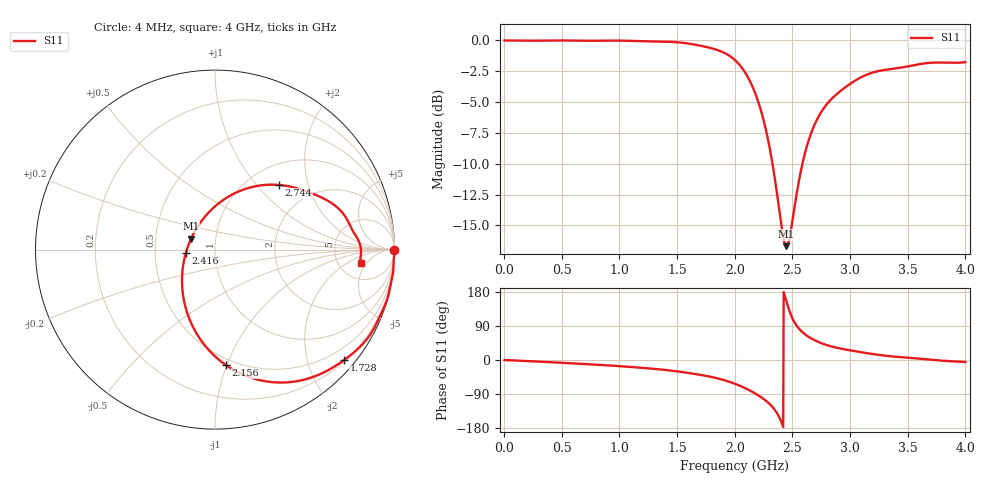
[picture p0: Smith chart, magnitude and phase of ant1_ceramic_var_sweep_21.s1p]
! TOUCHSTONE file generated by CST MICROWAVE STUDIO
! Date and time: Fri May  6 09:22:55 2022
! Project name: ant1_ceramic_sweep_10porcent.cst
! Parameters = {e=0.035; h=1.6; i=0.8; l1=0.5; l2=17; ls=80; wl=1.7; ws=33}
! Header version: 2018
! Port assignment regex: !\s*Touchstone port\s*([0-9]+)\s*=\s*(CST MWS port|CST DS port)\s*([0-9]+|Zmin|Zmax)\s*\(\"(.*)\"\)(\s*mode\s*([0-9]+))?.*
! Touchstone port assignment:
! Touchstone port 1 = CST MWS port 1 ("")
# GHz S DB R 50
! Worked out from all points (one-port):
!   1000 points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, 4 MHz to 4 GHz, reference 50 ohm
!   lowest |S11| = -16.7 dB at 2.448 GHz (marker M1), VSWR 1.34, Z = 38 + j4.79 ohm
!   |S11| at or under -10 dB: 2.327 GHz to 2.587 GHz (259.5 MHz wide, 10.6 % of centre)
!   S11 on the Smith chart (normalised r, x): 4 MHz: open; 1.728 GHz: 0.23, -2.69; 2.156 GHz: 0.45, -0.99; 2.416 GHz: 0.72, -0.03; 2.744 GHz: 1.37, +1.33; 4 GHz: 8.22, -3.67
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0.004  -0.00 -0.1
0.504  -0.00 -7.4
1.004  -0.01 -16.3
1.332  -0.09 -24.2
1.504  -0.15 -30.2
1.728  -0.48 -40.6
1.876  -0.87 -50.5
1.94  -1.16 -56.2
2.004  -1.61 -63.1
2.084  -2.51 -73.4
2.156  -3.79 -84.6
2.232  -5.85 -98.9
2.296  -8.39 -114.3
2.356  -11.75 -135.3
2.416  -15.73 -173.4
2.448  -16.68 155.1
2.472  -16.12 131.6
2.504  -14.37 107.3
2.56  -11.21 81.6
2.612  -9.03 67.2
2.672  -7.28 55.5
2.744  -5.89 45.2
2.856  -4.59 34.4
3.004  -3.50 25.2
3.216  -2.55 14.9
3.504  -2.10 6.0
3.7  -1.81 0.8
4  -1.76 -5.2
